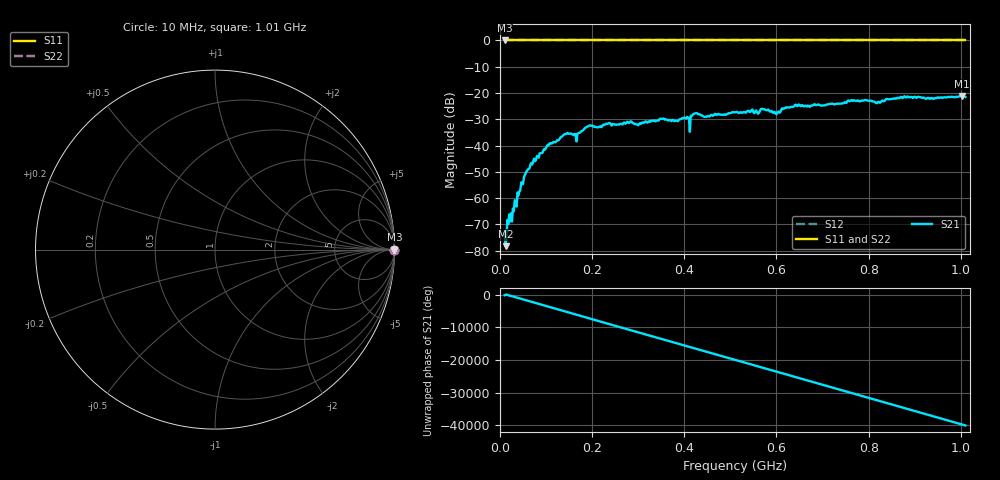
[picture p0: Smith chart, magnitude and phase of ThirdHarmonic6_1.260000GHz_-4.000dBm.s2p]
! 8/16/2025 1:32:18 PM
! C:\ANRITSUVNA\TEMP\TEMP.S2P
! CHANNEL.1
! TR.MEASUREMENT
! RAW.DATA
! RF.CORRECTION.OFF
! AVERAGING.OFF
! IF.BANDWIDTH: 5KHZ
! SWEEPTYPE:  FREQ.SWEEP(Linear)
! Reference Plane Port Info
! PORT:  PORT1  PORT2
! DISTANCE:  0  m  0  m
! TIME:  0  s  0  s
! PHASE.OFFSET:  0  deg.  0  deg.
! LOSS:  0  dB  0  dB
! REF.LOSS:  0  dB  0  dB
! REF.FREQ:  0  Hz  0  Hz
! Power Info
! POWER:  -20  dBm  -20  dBm
! EFF.POWER:  -20  dBm  -20  dBm
! SOURCE.ATTEN:  0  dB  0  dB
! TEST.ATTEN:  0  dB  0  dB
# GHZ S RI R 50.0
! FREQ.GHZ  S11RE  S11IM  S21RE  S21IM  S12RE  S12IM  S22RE  S22IM
!; PortSelection: Port_12
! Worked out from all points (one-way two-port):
!   501 points, 10 MHz to 1.01 GHz, reference 50 ohm
!   highest |S21| = -21.10 dB at 1.002 GHz (marker M1); lowest = -78.3 dB at 12 MHz (marker M2)
!   lowest |S11| = 0.0 dB at 10 MHz (marker M3)
!   |S11| at or under -10 dB: nowhere
!   |S22| runs from 0.0 to 0.0 dB; largest |S21 - S12| = 1.1
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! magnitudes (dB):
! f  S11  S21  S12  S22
! 10 MHz  0.0  -73.2  0.0  0.0
! 12 MHz  0.0  -78.3  0.0  0.0
! 20 MHz  0.0  -66.3  0.0  0.0
! 26 MHz  0.0  -69.0  0.0  0.0
! 50 MHz  0.0  -54.8  0.0  0.0
! 70 MHz  0.0  -47.2  0.0  0.0
! 106 MHz  0.0  -39.8  0.0  0.0
! 142 MHz  0.0  -35.7  0.0  0.0
! 164 MHz  0.0  -35.7  0.0  0.0
! 178 MHz  0.0  -34.5  0.0  0.0
! 196 MHz  0.0  -32.3  0.0  0.0
! 344 MHz  0.0  -30.5  0.0  0.0
! 408 MHz  0.0  -29.4  0.0  0.0
! 424 MHz  0.0  -27.8  0.0  0.0
! 446 MHz  0.0  -29.1  0.0  0.0
! 510 MHz  0.0  -27.4  0.0  0.0
! 570 MHz  0.0  -26.1  0.0  0.0
! 602 MHz  0.0  -27.4  0.0  0.0
! 678 MHz  0.0  -24.7  0.0  0.0
! 844 MHz  0.0  -22.4  0.0  0.0
! 1.002 GHz  0.0  -21.1  0.0  0.0
! 1.01 GHz  0.0  -21.5  0.0  0.0
